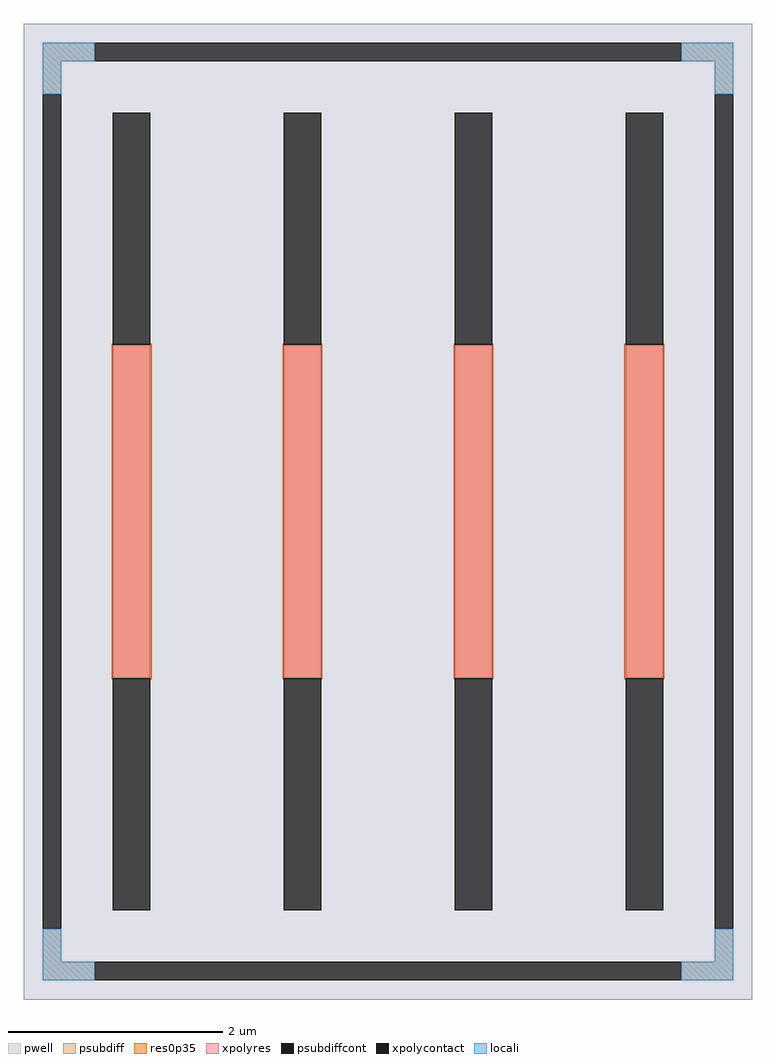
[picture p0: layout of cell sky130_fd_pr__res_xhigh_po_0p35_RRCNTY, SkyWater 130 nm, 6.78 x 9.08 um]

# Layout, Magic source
magic
tech sky130A
<< pwell >>
rect -339 -454 339 454
<< psubdiff >>
rect -321 419 -273 436
rect 273 419 321 436
rect -321 388 -304 419
rect 304 388 321 419
rect -321 -419 -304 -388
rect 304 -419 321 -388
rect -321 -436 -273 -419
rect 273 -436 321 -419
<< psubdiffcont >>
rect -273 419 273 436
rect -321 -388 -304 388
rect 304 -388 321 388
rect -273 -436 273 -419
<< xpolycontact >>
rect -256 155 -221 371
rect -256 -371 -221 -155
rect -97 155 -62 371
rect -97 -371 -62 -155
rect 62 155 97 371
rect 62 -371 97 -155
rect 221 155 256 371
rect 221 -371 256 -155
<< xpolyres >>
rect -256 -155 -221 155
rect -97 -155 -62 155
rect 62 -155 97 155
rect 221 -155 256 155
<< locali >>
rect -321 419 -273 436
rect 273 419 321 436
rect -321 388 -304 419
rect 304 388 321 419
rect -321 -419 -304 -388
rect 304 -419 321 -388
rect -321 -436 -273 -419
rect 273 -436 321 -419
<< res0p35 >>
rect -257 -156 -220 156
rect -98 -156 -61 156
rect 61 -156 98 156
rect 220 -156 257 156
<< properties >>
string gencell sky130_fd_pr__res_xhigh_po_0p35
string FIXED_BBOX -312 -427 312 427
string parameters w 0.350 l 3.1 m 1 nx 4 wmin 0.350 lmin 0.50 rho 2000 val 18.4k dummy 0 dw 0.0 term 120 sterm 0.0 caplen 0 wmax 0.350 guard 1 glc 1 grc 1 gtc 1 gbc 1 compatible {sky130_fd_pr__res_xhigh_po_0p35  sky130_fd_pr__res_xhigh_po_0p69 sky130_fd_pr__res_xhigh_po_1p41  sky130_fd_pr__res_xhigh_po_2p85 sky130_fd_pr__res_xhigh_po_5p73} full_metal 1
string library sky130
<< end >>
